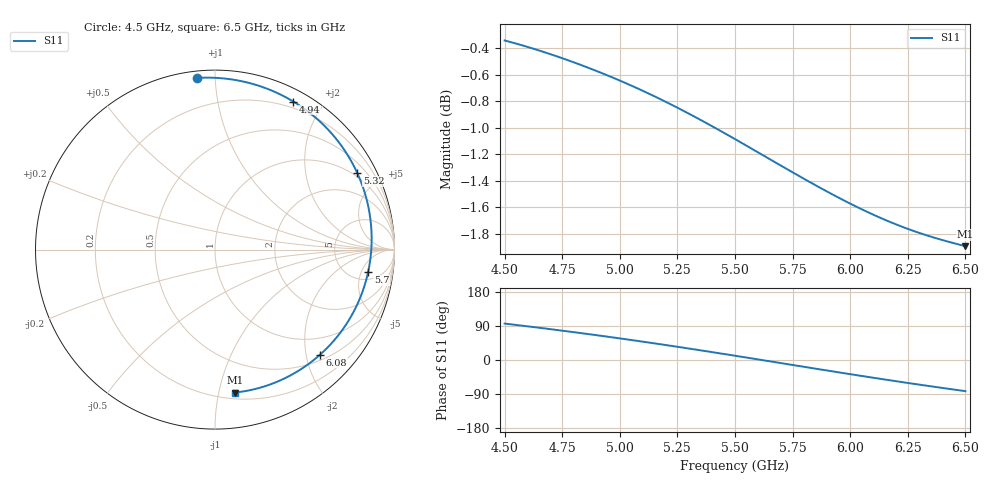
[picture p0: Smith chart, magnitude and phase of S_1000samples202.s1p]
! TOUCHSTONE file generated by CST MICROWAVE STUDIO
! Date and time: Thu Oct 27 08:54:22 2022
! Project name: L.cst
! Parameters = {Di=1.27; Epsilon_r=1.56; InnerDiameter=1.27; Length=2; Lf=10; Lg=60; OuterConductorThickness=0.2921; OuterDiameter=3.6; Wf=3; Wp=41.2; de=1.5; df=6.8; g=0.8; gx=2.85849; gy=4.31897; h=2.34; hf=1.524; px=9.97912; py=8.40527; w=9.7; wx=7.12063; wy=4.0863}
! Header version: 2018
! Port assignment regex: !\s*Touchstone port\s*([0-9]+)\s*=\s*(CST MWS port|CST DS port)\s*([0-9]+|Zmin|Zmax)\s*\(\"(.*)\"\)(\s*mode\s*([0-9]+))?.*
! Touchstone port assignment:
! Touchstone port 1 = CST MWS port 1 ("")
# GHz S DB R 50
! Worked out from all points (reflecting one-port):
!   101 points, 4.5 GHz to 6.5 GHz, reference 50 ohm
!   lowest |S11| = -1.9 dB at 6.5 GHz (marker M1), VSWR 9.21, Z = 12.4 - j55.8 ohm
!   phase of S11 starts at 96 deg and turns -178 deg over the sweep
!   S11 on the Smith chart (normalised r, x): 4.5 GHz: 0.04, +0.90; 4.94 GHz: 0.13, +1.66; 5.32 GHz: 0.84, +3.78; 5.7 GHz: 7.00, -6.72; 6.08 GHz: 0.61, -2.28; 6.5 GHz: 0.25, -1.12
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4.5  -0.34 96.1
4.58  -0.38 90.3
4.64  -0.41 85.8
4.7  -0.45 81.3
4.76  -0.48 76.6
4.86  -0.55 68.6
4.94  -0.60 62.1
5  -0.64 57.0
5.06  -0.69 51.8
5.12  -0.74 46.6
5.2  -0.80 39.4
5.26  -0.86 33.9
5.32  -0.91 28.4
5.42  -1.01 18.9
5.5  -1.09 11.3
5.6  -1.19 1.6
5.7  -1.29 -8.2
5.76  -1.35 -14.1
5.82  -1.41 -20.0
5.88  -1.46 -25.8
6  -1.57 -37.4
6.08  -1.64 -44.9
6.18  -1.72 -54.2
6.26  -1.77 -61.4
6.32  -1.81 -66.8
6.38  -1.84 -72.0
6.44  -1.87 -77.1
6.5  -1.89 -82.1
